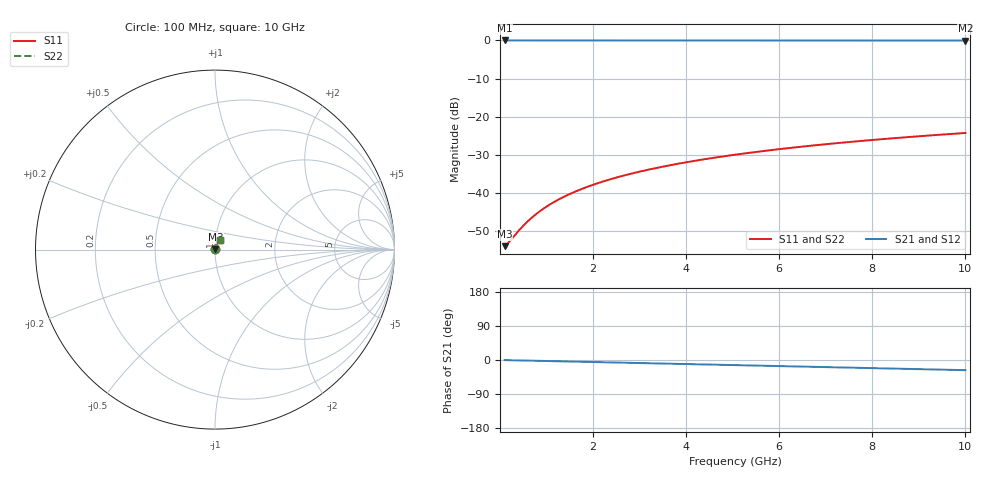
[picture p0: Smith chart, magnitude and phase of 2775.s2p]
# Hz S RI R 50.00
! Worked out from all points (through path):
!   100 points, 100 MHz to 10 GHz, reference 50 ohm
!   highest |S21| = -0.02 dB at 100 MHz (marker M1); lowest = 0.0 dB at 10 GHz (marker M2)
!   group delay of S21, straight-line fit = 7.46 ps
!   lowest |S11| = -53.9 dB at 100 MHz (marker M3), VSWR 1.00, Z = 50.2 + j0.0628 ohm
!   |S11| at or under -10 dB: start of sweep to end of sweep
!   |S22| runs from -53.9 to -24.3 dB; largest |S21 - S12| = 0
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1e8  0.00191 0.000626  0.9981 -0.00465  0.9981 -0.00465  0.00191 0.000626
2e8  0.00193 0.00125  0.998 -0.00931  0.998 -0.00931  0.00193 0.00125
4e8  0.00198 0.0025  0.9979 -0.0186  0.9979 -0.0186  0.00198 0.0025
5e8  0.00201 0.00313  0.9978 -0.0233  0.9978 -0.0233  0.00201 0.00313
6e8  0.00205 0.00375  0.9976 -0.0279  0.9976 -0.0279  0.00205 0.00375
7e8  0.00209 0.00437  0.9975 -0.0326  0.9975 -0.0326  0.00209 0.00437
9e8  0.00219 0.00562  0.9971 -0.0419  0.9971 -0.0419  0.00219 0.00562
1.1e9  0.00231 0.00686  0.9967 -0.0512  0.9967 -0.0512  0.00231 0.00686
1.3e9  0.00245 0.00811  0.9961 -0.0605  0.9961 -0.0605  0.00245 0.00811
1.5e9  0.00262 0.00934  0.9955 -0.0697  0.9955 -0.0697  0.00262 0.00934
1.8e9  0.00291 0.0112  0.9944 -0.0837  0.9944 -0.0837  0.00291 0.0112
2.1e9  0.00326 0.013  0.9931 -0.0976  0.9931 -0.0976  0.00326 0.013
2.5e9  0.00379 0.0155  0.991 -0.1161  0.991 -0.1161  0.00379 0.0155
2.9e9  0.00442 0.0179  0.9886 -0.1346  0.9886 -0.1346  0.00442 0.0179
3.4e9  0.00533 0.0209  0.9851 -0.1576  0.9851 -0.1576  0.00533 0.0209
4.2e9  0.00708 0.0255  0.9784 -0.1944  0.9784 -0.1944  0.00708 0.0255
5.1e9  0.00945 0.0306  0.9692 -0.2353  0.9692 -0.2353  0.00945 0.0306
5.9e9  0.0119 0.0349  0.9595 -0.2715  0.9595 -0.2715  0.0119 0.0349
6.7e9  0.0147 0.0391  0.9484 -0.3072  0.9484 -0.3072  0.0147 0.0391
7.5e9  0.0178 0.043  0.9359 -0.3425  0.9359 -0.3425  0.0178 0.043
8.4e9  0.0216 0.0472  0.9203 -0.3817  0.9203 -0.3817  0.0216 0.0472
1e10  0.0293 0.0537  0.8885 -0.4496  0.8885 -0.4496  0.0293 0.0537
